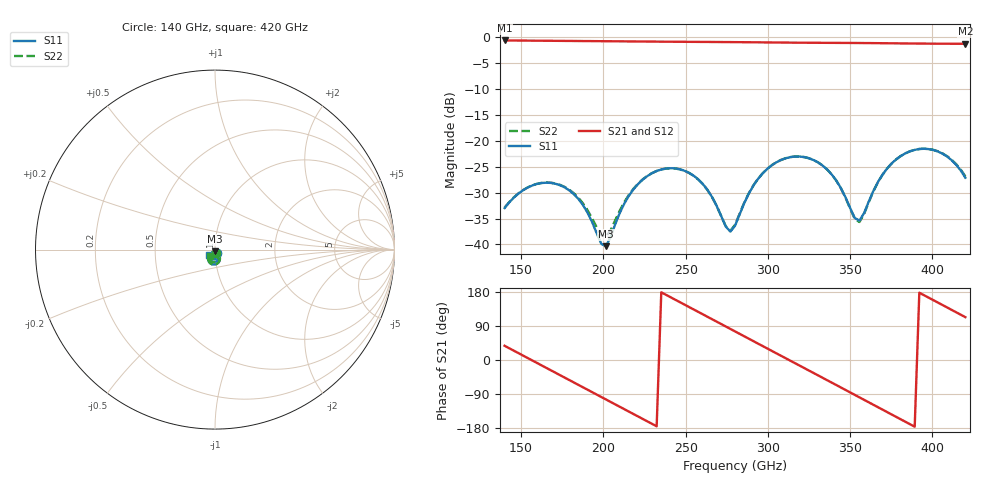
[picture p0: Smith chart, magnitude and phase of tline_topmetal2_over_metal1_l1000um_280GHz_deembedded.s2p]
! Created with skrf 2.2.0 (http://scikit-rf.org).
# GHz S DB R 50.0
! Port[1] = P1
! Port[2] = P2
!freq dBS11 angS11 dBS21 angS21 dBS12 angS12 dBS22 angS22
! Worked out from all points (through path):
!   101 points, 140 GHz to 420 GHz, reference 50 ohm
!   highest |S21| = -0.61 dB at 140 GHz (marker M1); lowest = -1.3 dB at 420 GHz (marker M2)
!   group delay of S21, straight-line fit = 6.39 ps
!   lowest |S11| = -40.3 dB at 201.6 GHz (marker M3), VSWR 1.02, Z = 50 - j0.962 ohm
!   |S11| at or under -10 dB: start of sweep to end of sweep
!   |S22| runs from -38.5 to -21.5 dB; largest |S21 - S12| = 1e-13
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140  -32.99 -66.7  -0.61 37.5  -0.61 37.5  -32.88 -68.4
151.2  -29.54 -79.6  -0.64 11.7  -0.64 11.7  -29.51 -80.1
162.4  -28.15 -98.2  -0.67 -14.0  -0.67 -14.0  -28.12 -97.8
173.6  -28.56 -117.7  -0.69 -39.8  -0.69 -39.8  -28.49 -116.3
187.6  -32.38 -136.9  -0.73 -72.0  -0.73 -72.0  -32.08 -133.3
201.6  -40.34 -88.7  -0.76 -104.2  -0.76 -104.2  -38.49 -91.7
218.4  -29.33 -60.0  -0.80 -142.8  -0.80 -142.8  -29.21 -64.1
235.2  -25.54 -88.0  -0.85 178.6  -0.85 178.6  -25.53 -90.3
246.4  -25.49 -108.5  -0.87 152.9  -0.87 152.9  -25.49 -110.2
260.4  -28.32 -130.5  -0.90 120.7  -0.90 120.7  -28.34 -131.5
274.4  -36.56 -116.1  -0.93 88.4  -0.93 88.4  -36.48 -116.1
280  -36.41 -72.7  -0.94 75.5  -0.94 75.5  -36.23 -73.6
291.2  -28.63 -55.4  -0.97 49.7  -0.97 49.7  -28.58 -56.5
305.2  -24.14 -75.1  -1.01 17.5  -1.01 17.5  -24.12 -75.9
316.4  -23.04 -95.2  -1.04 -8.2  -1.04 -8.2  -23.02 -95.9
327.6  -23.69 -115.2  -1.06 -34.0  -1.06 -34.0  -23.68 -115.8
341.6  -27.69 -134.2  -1.08 -66.2  -1.08 -66.2  -27.70 -134.9
355.6  -35.41 -89.9  -1.11 -98.5  -1.11 -98.5  -35.67 -89.8
375.2  -24.36 -63.8  -1.16 -143.8  -1.16 -143.8  -24.37 -62.9
386.4  -22.01 -82.3  -1.20 -169.6  -1.20 -169.6  -22.00 -81.2
397.6  -21.59 -102.6  -1.23 164.7  -1.23 164.7  -21.56 -101.2
420  -27.12 -135.3  -1.26 113.0  -1.26 113.0  -26.88 -131.9
